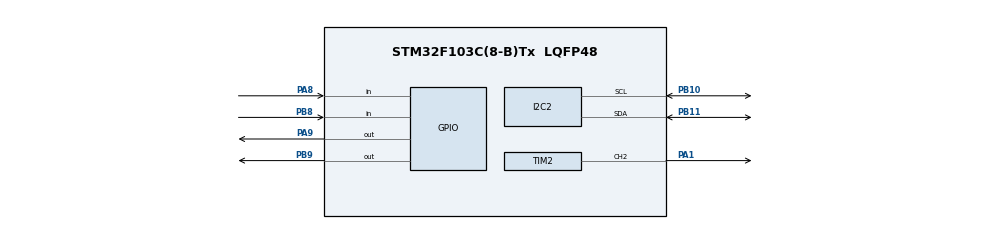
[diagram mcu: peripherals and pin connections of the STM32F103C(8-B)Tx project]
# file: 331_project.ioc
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I2C2.I2C_Mode=I2C_Fast
Mcu.Family=STM32F1
Mcu.Name=STM32F103C(8-B)Tx
Mcu.Package=LQFP48
NVIC.PriorityGroup=NVIC_PRIORITYGROUP_4
PA1.Signal=S_TIM2_CH2
PA13.Mode=Serial_Wire
PA13.Signal=SYS_JTMS-SWDIO
PA14.Mode=Serial_Wire
PA14.Signal=SYS_JTCK-SWCLK
PA8.Signal=GPIO_Input
PA9.Signal=GPIO_Output
PB10.Mode=I2C
PB10.Signal=I2C2_SCL
PB11.Mode=I2C
PB11.Signal=I2C2_SDA
PB8.Signal=GPIO_Input
PB9.Signal=GPIO_Output
PD0-OSC_IN.Mode=HSE-External-Oscillator
PD0-OSC_IN.Signal=RCC_OSC_IN
PD1-OSC_OUT.Mode=HSE-External-Oscillator
PD1-OSC_OUT.Signal=RCC_OSC_OUT
ProjectManager.HeapSize=0x200
ProjectManager.StackSize=0x400
ProjectManager.TargetToolchain=STM32CubeIDE
RCC.AHBFreq_Value=72000000
RCC.APB1CLKDivider=RCC_HCLK_DIV2
RCC.APB1Freq_Value=36000000
RCC.APB1TimFreq_Value=72000000
RCC.APB2Freq_Value=72000000
RCC.APB2TimFreq_Value=72000000
RCC.HCLKFreq_Value=72000000
RCC.PLLMUL=RCC_PLL_MUL9
RCC.PLLSourceVirtual=RCC_PLLSOURCE_HSE
RCC.SYSCLKFreq_VALUE=72000000
RCC.SYSCLKSource=RCC_SYSCLKSOURCE_PLLCLK
RCC.USBFreq_Value=72000000
SH.S_TIM2_CH2.0=TIM2_CH2,PWM Generation2 CH2
TIM1.Prescaler=71
TIM2.Channel-PWM\ Generation2\ CH2=TIM_CHANNEL_2
TIM2.Period=19999
TIM2.Prescaler=71
VP_TIM1_VS_ClockSourceINT.Mode=Internal
board=custom

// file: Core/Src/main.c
/* USER CODE BEGIN Header */
/**
******************************************************************************
* @file           : main.c
* @brief          : Automatic Smart Bin with Dual Ultrasonic Sensors
*                   - Sensor 1 (PA8/PA9): Opens lid when hand within 5cm
*                   - Sensor 2 (PB8/PB9): Monitors bin level, locks at ≤3cm
*                   - When bin is full (≤3cm), servo locks at 0° (closed)
******************************************************************************
* @attention
*
* Copyright (c) 2025 STMicroelectronics.
* All rights reserved.
*
******************************************************************************
*/
/* USER CODE END Header */
#include "main.h"
#include "fonts.h"
#include "ssd1306.h"
/* USER CODE BEGIN PD */
// Ultrasonic Sensor 1 - Lid control (Port A)
#define TRIG_PIN_1   GPIO_PIN_9
#define TRIG_PORT_1  GPIOA
#define ECHO_PIN_1   GPIO_PIN_8
#define ECHO_PORT_1  GPIOA
// Ultrasonic Sensor 2 - Bin level measurement (Port B)
#define TRIG_PIN_2   GPIO_PIN_9
#define TRIG_PORT_2  GPIOB
#define ECHO_PIN_2   GPIO_PIN_8
#define ECHO_PORT_2  GPIOB
// Distance thresholds
#define LID_OPEN_DISTANCE  5   // Open lid if hand within 5cm (UPDATED)
#define BIN_FULL_DISTANCE  3   // Bin is full if distance <= 3cm (UPDATED)
// Servo calibration values - adjust these for your specific servo
#define SERVO_MIN_US   500    // Absolute minimum pulse (safety limit)
#define SERVO_0_DEG    1000   // Pulse for 0 degrees (BIN CLOSED)
#define SERVO_90_DEG   1500   // Pulse for 90 degrees (center)
#define SERVO_180_DEG  2000   // Pulse for 180 degrees (BIN OPEN)
#define SERVO_MAX_US   2500   // Absolute maximum pulse (safety limit)
// Bin positions
#define BIN_CLOSED_ANGLE  0     // Lid closed at 0 degrees
#define BIN_OPEN_ANGLE    180   // Lid open at 180 degrees
// Servo movement delay
#define SERVO_MOVE_DELAY  1000  // Time to wait for servo to reach position (ms)
/* USER CODE END PD */
I2C_HandleTypeDef hi2c2;
TIM_HandleTypeDef htim1;  // Timer for ultrasonic timing
TIM_HandleTypeDef htim2;  // Timer for servo PWM
/* USER CODE BEGIN PV */
uint16_t distance_sensor1 = 0;  // Distance from sensor 1 (lid control)
uint16_t distance_sensor2 = 0;  // Distance from sensor 2 (bin level)
uint8_t lidIsOpen = 0;           // Track lid state: 0=closed, 1=open
uint8_t binIsFull = 0;           // Track bin full status: 0=not full, 1=full
char strCopy[20];
static uint16_t current_position = SERVO_0_DEG;  // Track current position
/* USER CODE END PV */
void SystemClock_Config(void);
static void MX_GPIO_Init(void);
static void MX_I2C2_Init(void);
static void MX_TIM1_Init(void);
static void MX_TIM2_Init(void);
/* USER CODE BEGIN PFP */
uint16_t Read_Ultrasonic_Sensor1(void);
uint16_t Read_Ultrasonic_Sensor2(void);
void Servo_SetPulse_us(uint16_t us);
void Servo_GotoAngle(uint8_t angle);
void Servo_OpenLid(void);
void Servo_CloseLid(void);
void Update_OLED_Display(void);
/* USER CODE END PFP */
int main(void)
{
HAL_Init();
SystemClock_Config();
/* Initialize all configured peripherals */
MX_GPIO_Init();
MX_I2C2_Init();
MX_TIM1_Init();
MX_TIM2_Init();
/* USER CODE BEGIN 2 */
// Start TIM1 for ultrasonic timing
HAL_TIM_Base_Start(&htim1);
// Start PWM for servo
HAL_TIM_PWM_Start(&htim2, TIM_CHANNEL_2);
// Initialize TRIG pins LOW
HAL_GPIO_WritePin(TRIG_PORT_1, TRIG_PIN_1, GPIO_PIN_RESET);
HAL_GPIO_WritePin(TRIG_PORT_2, TRIG_PIN_2, GPIO_PIN_RESET);
// Initialize servo to closed position
Servo_GotoAngle(BIN_CLOSED_ANGLE);
HAL_Delay(SERVO_MOVE_DELAY);
lidIsOpen = 0;
binIsFull = 0;
// Initialize OLED display
SSD1306_Init();
SSD1306_GotoXY(0, 0);
SSD1306_Puts("Smart Bin", &Font_11x18, 1);
SSD1306_GotoXY(0, 25);
SSD1306_Puts("Ready!", &Font_11x18, 1);
SSD1306_UpdateScreen();
HAL_Delay(1000);
/* USER CODE END 2 */
/* Infinite loop */
while (1)
{
  /* USER CODE BEGIN 3 */
  // Read distance from sensor 2 (bin level measurement) FIRST
  distance_sensor2 = Read_Ultrasonic_Sensor2();

  // Check if bin is full (≤3cm)
  if (distance_sensor2 > 0 && distance_sensor2 <= BIN_FULL_DISTANCE)
  {
    binIsFull = 1;
    // If bin is full and lid is open, close it immediately
    if (lidIsOpen == 1)
    {
      Servo_CloseLid();
      lidIsOpen = 0;
      HAL_Delay(SERVO_MOVE_DELAY);
    }
  }
  else
  {
    binIsFull = 0;
  }

  // Only process hand detection if bin is NOT full
  if (!binIsFull)
  {
    // Read distance from sensor 1 (lid control)
    distance_sensor1 = Read_Ultrasonic_Sensor1();

    // Check if hand is near sensor 1 (within 5cm) to open/close lid
    if (distance_sensor1 > 0 && distance_sensor1 <= LID_OPEN_DISTANCE)
    {
      // Object detected within 5cm range
      if (lidIsOpen == 0)
      {
        // Lid is closed, open it
        Servo_OpenLid();
        lidIsOpen = 1;
        HAL_Delay(SERVO_MOVE_DELAY);  // Wait for servo to reach position
      }
    }
    else
    {
      // No object detected or too far away (>5cm)
      if (lidIsOpen == 1)
      {
        // Lid is open, close it
        Servo_CloseLid();
        lidIsOpen = 0;
        HAL_Delay(SERVO_MOVE_DELAY);  // Wait for servo to reach position
      }
    }
  }
  // If bin is full, servo remains locked at initial position (0°)
  // No servo movement commands are executed

  // Update OLED display with bin level
  Update_OLED_Display();
  HAL_Delay(100);  // Update every 100ms
}
/* USER CODE END 3 */
}
void SystemClock_Config(void)
{
RCC_OscInitTypeDef RCC_OscInitStruct = {0};
RCC_ClkInitTypeDef RCC_ClkInitStruct = {0};
RCC_OscInitStruct.OscillatorType = RCC_OSCILLATORTYPE_HSE;
RCC_OscInitStruct.HSEState = RCC_HSE_ON;
RCC_OscInitStruct.HSEPredivValue = RCC_HSE_PREDIV_DIV1;
RCC_OscInitStruct.HSIState = RCC_HSI_ON;
RCC_OscInitStruct.PLL.PLLState = RCC_PLL_ON;
RCC_OscInitStruct.PLL.PLLSource = RCC_PLLSOURCE_HSE;
RCC_OscInitStruct.PLL.PLLMUL = RCC_PLL_MUL9;
if (HAL_RCC_OscConfig(&RCC_OscInitStruct) != HAL_OK)
{
  Error_Handler();
}
RCC_ClkInitStruct.ClockType = RCC_CLOCKTYPE_HCLK|RCC_CLOCKTYPE_SYSCLK
                            |RCC_CLOCKTYPE_PCLK1|RCC_CLOCKTYPE_PCLK2;
RCC_ClkInitStruct.SYSCLKSource = RCC_SYSCLKSOURCE_PLLCLK;
RCC_ClkInitStruct.AHBCLKDivider = RCC_SYSCLK_DIV1;
RCC_ClkInitStruct.APB1CLKDivider = RCC_HCLK_DIV2;
RCC_ClkInitStruct.APB2CLKDivider = RCC_HCLK_DIV1;
if (HAL_RCC_ClockConfig(&RCC_ClkInitStruct, FLASH_LATENCY_2) != HAL_OK)
{
  Error_Handler();
}
}
static void MX_I2C2_Init(void)
{
hi2c2.Instance = I2C2;
hi2c2.Init.ClockSpeed = 400000;
hi2c2.Init.DutyCycle = I2C_DUTYCYCLE_2;
hi2c2.Init.OwnAddress1 = 0;
hi2c2.Init.AddressingMode = I2C_ADDRESSINGMODE_7BIT;
hi2c2.Init.DualAddressMode = I2C_DUALADDRESS_DISABLE;
hi2c2.Init.OwnAddress2 = 0;
hi2c2.Init.GeneralCallMode = I2C_GENERALCALL_DISABLE;
hi2c2.Init.NoStretchMode = I2C_NOSTRETCH_DISABLE;
if (HAL_I2C_Init(&hi2c2) != HAL_OK)
{
  Error_Handler();
}
}
static void MX_TIM1_Init(void)
{
TIM_ClockConfigTypeDef sClockSourceConfig = {0};
TIM_MasterConfigTypeDef sMasterConfig = {0};
htim1.Instance = TIM1;
htim1.Init.Prescaler = 71;  // 72MHz / 72 = 1MHz (1µs per tick)
htim1.Init.CounterMode = TIM_COUNTERMODE_UP;
htim1.Init.Period = 65535;
htim1.Init.ClockDivision = TIM_CLOCKDIVISION_DIV1;
htim1.Init.RepetitionCounter = 0;
htim1.Init.AutoReloadPreload = TIM_AUTORELOAD_PRELOAD_DISABLE;
if (HAL_TIM_Base_Init(&htim1) != HAL_OK)
{
  Error_Handler();
}
sClockSourceConfig.ClockSource = TIM_CLOCKSOURCE_INTERNAL;
if (HAL_TIM_ConfigClockSource(&htim1, &sClockSourceConfig) != HAL_OK)
{
  Error_Handler();
}
sMasterConfig.MasterOutputTrigger = TIM_TRGO_RESET;
sMasterConfig.MasterSlaveMode = TIM_MASTERSLAVEMODE_DISABLE;
if (HAL_TIMEx_MasterConfigSynchronization(&htim1, &sMasterConfig) != HAL_OK)
{
  Error_Handler();
}
}
static void MX_TIM2_Init(void)
{
TIM_MasterConfigTypeDef sMasterConfig = {0};
TIM_OC_InitTypeDef sConfigOC = {0};
htim2.Instance = TIM2;
htim2.Init.Prescaler = 71;     // 72MHz / 72 = 1MHz (1µs per tick)
htim2.Init.CounterMode = TIM_COUNTERMODE_UP;
htim2.Init.Period = 19999;     // 20ms period (50Hz for servo)
htim2.Init.ClockDivision = TIM_CLOCKDIVISION_DIV1;
htim2.Init.AutoReloadPreload = TIM_AUTORELOAD_PRELOAD_ENABLE;
if (HAL_TIM_PWM_Init(&htim2) != HAL_OK)
{
  Error_Handler();
}
sMasterConfig.MasterOutputTrigger = TIM_TRGO_RESET;
sMasterConfig.MasterSlaveMode = TIM_MASTERSLAVEMODE_DISABLE;
if (HAL_TIMEx_MasterConfigSynchronization(&htim2, &sMasterConfig) != HAL_OK)
{
  Error_Handler();
}
sConfigOC.OCMode = TIM_OCMODE_PWM1;
sConfigOC.Pulse = SERVO_0_DEG;  // Start at closed position
sConfigOC.OCPolarity = TIM_OCPOLARITY_HIGH;
sConfigOC.OCFastMode = TIM_OCFAST_DISABLE;
if (HAL_TIM_PWM_ConfigChannel(&htim2, &sConfigOC, TIM_CHANNEL_2) != HAL_OK)
{
  Error_Handler();
}
HAL_TIM_MspPostInit(&htim2);
}
static void MX_GPIO_Init(void)
{
GPIO_InitTypeDef GPIO_InitStruct = {0};
/* GPIO Ports Clock Enable */
__HAL_RCC_GPIOD_CLK_ENABLE();
__HAL_RCC_GPIOA_CLK_ENABLE();
__HAL_RCC_GPIOB_CLK_ENABLE();
/* Configure Sensor 1 pins (Port A) */
// TRIG pin (PA9) as output
HAL_GPIO_WritePin(TRIG_PORT_1, TRIG_PIN_1, GPIO_PIN_RESET);
GPIO_InitStruct.Pin = TRIG_PIN_1;
GPIO_InitStruct.Mode = GPIO_MODE_OUTPUT_PP;
GPIO_InitStruct.Pull = GPIO_NOPULL;
GPIO_InitStruct.Speed = GPIO_SPEED_FREQ_LOW;
HAL_GPIO_Init(TRIG_PORT_1, &GPIO_InitStruct);
// ECHO pin (PA8) as input
GPIO_InitStruct.Pin = ECHO_PIN_1;
GPIO_InitStruct.Mode = GPIO_MODE_INPUT;
GPIO_InitStruct.Pull = GPIO_NOPULL;
HAL_GPIO_Init(ECHO_PORT_1, &GPIO_InitStruct);
/* Configure Sensor 2 pins (Port B) */
// TRIG pin (PB9) as output
HAL_GPIO_WritePin(TRIG_PORT_2, TRIG_PIN_2, GPIO_PIN_RESET);
GPIO_InitStruct.Pin = TRIG_PIN_2;
GPIO_InitStruct.Mode = GPIO_MODE_OUTPUT_PP;
GPIO_InitStruct.Pull = GPIO_NOPULL;
GPIO_InitStruct.Speed = GPIO_SPEED_FREQ_LOW;
HAL_GPIO_Init(TRIG_PORT_2, &GPIO_InitStruct);
// ECHO pin (PB8) as input
GPIO_InitStruct.Pin = ECHO_PIN_2;
GPIO_InitStruct.Mode = GPIO_MODE_INPUT;
GPIO_InitStruct.Pull = GPIO_NOPULL;
HAL_GPIO_Init(ECHO_PORT_2, &GPIO_InitStruct);
}
/* USER CODE BEGIN 4 */
/**
* @brief  Set servo pulse width in microseconds with safety limits
* @param  us: Pulse width in microseconds
* @retval None
*/
void Servo_SetPulse_us(uint16_t us)
{
 // Clamp to safe range
 if (us < SERVO_MIN_US) us = SERVO_MIN_US;
 if (us > SERVO_MAX_US) us = SERVO_MAX_US;
 // With PSC=71 => 1 tick = 1us, so CCR = us
 __HAL_TIM_SET_COMPARE(&htim2, TIM_CHANNEL_2, us);
 current_position = us;
}
/**
* @brief  Move servo to specific angle (0-180 degrees)
* @param  angle: Target angle in degrees (0-180)
* @retval None
*/
void Servo_GotoAngle(uint8_t angle)
{
 // Clamp angle to 0-180
 if (angle > 180) angle = 180;
 // Linear interpolation between 0° and 180°
 uint16_t pulse = SERVO_0_DEG + ((uint32_t)angle * (SERVO_180_DEG - SERVO_0_DEG) + 90) / 180;
 Servo_SetPulse_us(pulse);
}
/**
* @brief  Open the lid by moving servo to 180 degrees
* @retval None
*/
void Servo_OpenLid(void)
{
 Servo_GotoAngle(BIN_OPEN_ANGLE);
}
/**
* @brief  Close the lid by moving servo to 0 degrees
* @retval None
*/
void Servo_CloseLid(void)
{
 Servo_GotoAngle(BIN_CLOSED_ANGLE);
}
/**
* @brief  Read distance from Sensor 1 (lid control)
* @retval Distance in centimeters
*/
uint16_t Read_Ultrasonic_Sensor1(void)
{
uint32_t startTick, endTick, timeout;
// Send 10µs trigger pulse
HAL_GPIO_WritePin(TRIG_PORT_1, TRIG_PIN_1, GPIO_PIN_SET);
__HAL_TIM_SET_COUNTER(&htim1, 0);
while (__HAL_TIM_GET_COUNTER(&htim1) < 10);
HAL_GPIO_WritePin(TRIG_PORT_1, TRIG_PIN_1, GPIO_PIN_RESET);
// Wait for ECHO to go HIGH (with timeout)
timeout = HAL_GetTick();
while (!HAL_GPIO_ReadPin(ECHO_PORT_1, ECHO_PIN_1))
{
  if ((HAL_GetTick() - timeout) > 10)
    return 0;
}
startTick = __HAL_TIM_GET_COUNTER(&htim1);
// Wait for ECHO to go LOW (with timeout)
timeout = HAL_GetTick();
while (HAL_GPIO_ReadPin(ECHO_PORT_1, ECHO_PIN_1))
{
  if ((HAL_GetTick() - timeout) > 50)
    return 0;
}
endTick = __HAL_TIM_GET_COUNTER(&htim1);
// Calculate pulse width
uint32_t pulseWidth;
if (endTick >= startTick)
  pulseWidth = endTick - startTick;
else
  pulseWidth = (65535 - startTick) + endTick;
// Convert to distance in cm
uint16_t dist = pulseWidth / 58;
return dist;
}
/**
* @brief  Read distance from Sensor 2 (bin level)
* @retval Distance in centimeters
*/
uint16_t Read_Ultrasonic_Sensor2(void)
{
uint32_t Value1, Value2;
// Send 10µs trigger pulse
HAL_GPIO_WritePin(TRIG_PORT_2, TRIG_PIN_2, GPIO_PIN_SET);
__HAL_TIM_SET_COUNTER(&htim1, 0);
while (__HAL_TIM_GET_COUNTER(&htim1) < 10);
HAL_GPIO_WritePin(TRIG_PORT_2, TRIG_PIN_2, GPIO_PIN_RESET);
// Wait for ECHO to go HIGH
uint32_t timeout = HAL_GetTick();
while (!HAL_GPIO_ReadPin(ECHO_PORT_2, ECHO_PIN_2))
{
  if (HAL_GetTick() - timeout > 50)
    return 0;
}
Value1 = __HAL_TIM_GET_COUNTER(&htim1);
// Wait for ECHO to go LOW
timeout = HAL_GetTick();
while (HAL_GPIO_ReadPin(ECHO_PORT_2, ECHO_PIN_2))
{
  if (HAL_GetTick() - timeout > 50)
    return 0;
}
Value2 = __HAL_TIM_GET_COUNTER(&htim1);
// Calculate distance in cm
uint16_t dist = (Value2 - Value1) * 0.034 / 2;
return dist;
}
/**
* @brief  Update OLED display with bin level information
* @retval None
*/
void Update_OLED_Display(void)
{
SSD1306_Fill(SSD1306_COLOR_BLACK);
// Check if bin is full (distance ≤3 cm)
if (distance_sensor2 > 0 && distance_sensor2 <= BIN_FULL_DISTANCE)
{
  SSD1306_GotoXY(10, 10);
  SSD1306_Puts("Bin is", &Font_11x18, 1);
  SSD1306_GotoXY(10, 35);
  SSD1306_Puts("Full!", &Font_16x26, 1);
}
else
{
  SSD1306_GotoXY(0, 0);
  SSD1306_Puts("Distance:", &Font_11x18, 1);
  sprintf(strCopy, "%d cm   ", distance_sensor2);
  SSD1306_GotoXY(0, 30);
  SSD1306_Puts(strCopy, &Font_16x26, 1);
}
SSD1306_UpdateScreen();
}
/* USER CODE END 4 */
void Error_Handler(void)
{
__disable_irq();
while (1)
{
}
}
